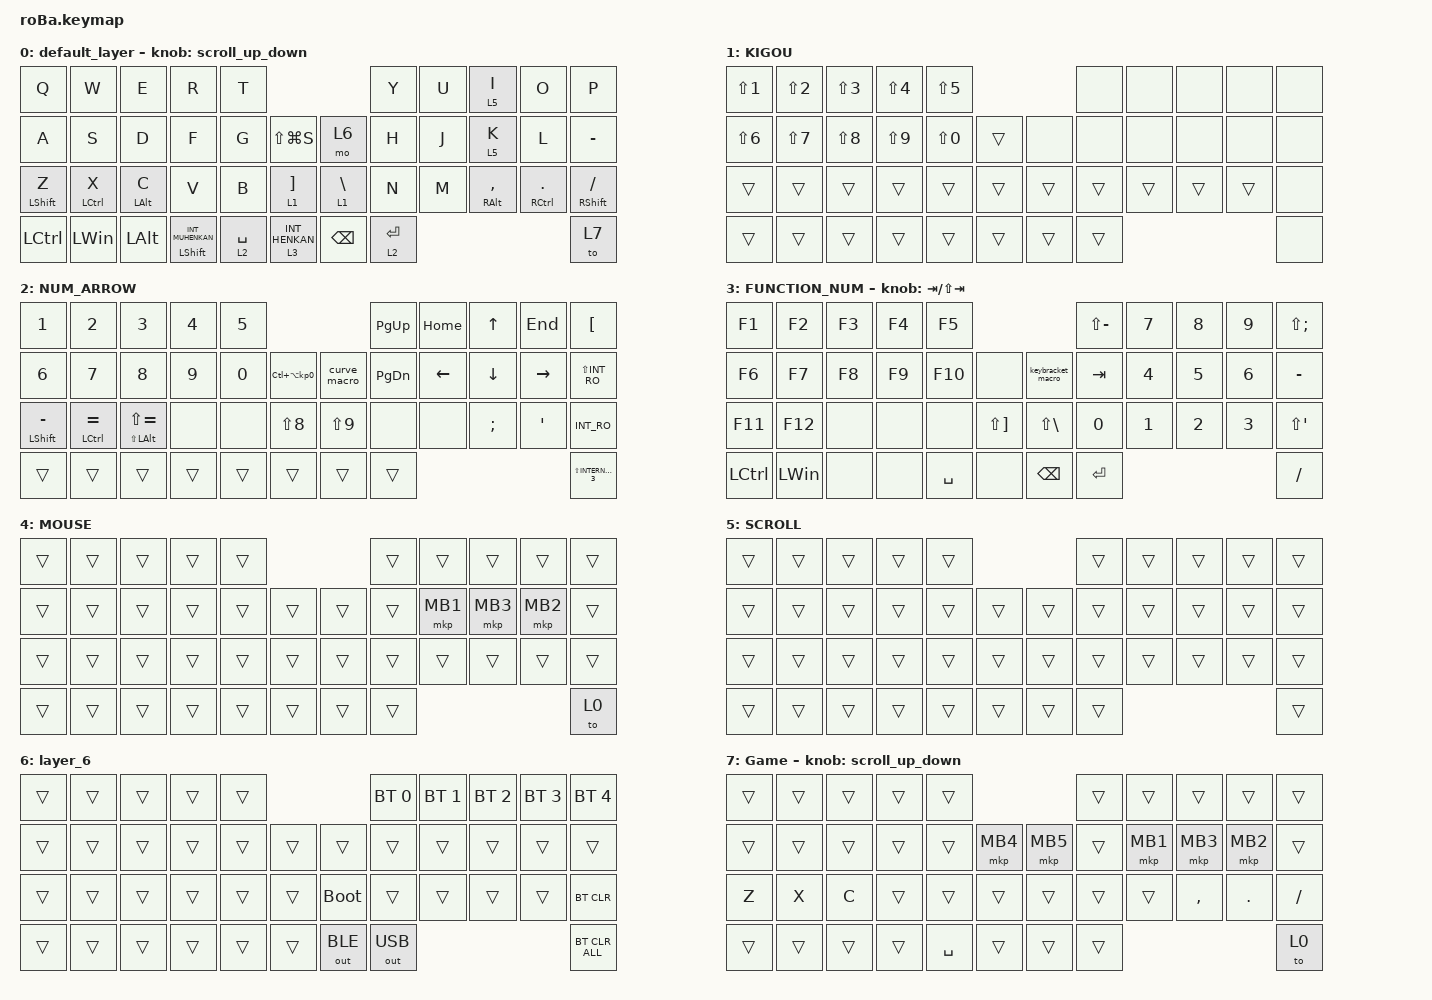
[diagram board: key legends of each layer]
#include <behaviors.dtsi>
#include <dt-bindings/zmk/bt.h>
#include <dt-bindings/zmk/keys.h>
#include <dt-bindings/zmk/outputs.h>
#include <dt-bindings/zmk/pointing.h>

#define MOUSE 4
#define SCROLL 5
#define NUM 6
#define ZMK_POINTING_DEFAULT_SCRL_VAL 100

&mt {
    flavor = "balanced";
    quick-tap-ms = <0>;
};

/ {
    combos {
        compatible = "zmk,combos";

        tab {
            bindings = <&kp TAB>;
            key-positions = <0 1>;
        };

        shift_tab {
            bindings = <&kp LS(TAB)>;
            key-positions = <3 4>;
        };

        muhennkann {
            bindings = <&kp ESC>;
            key-positions = <0 1 2>;
        };

        del {
            bindings = <&kp DEL>;
            key-positions = <8 9>;
        };

        mouseL {
            bindings = <&mkp LCLK>;
            key-positions = <18 19>;
        };

        mouseR {
            bindings = <&mkp RCLK>;
            key-positions = <19 20>;
        };

        mouseM {
            bindings = <&mkp MCLK>;
            key-positions = <18 20>;
        };

        dclick {
            bindings = <&dclick>;
            key-positions = <18 19 20>;
        };

        back {
            bindings = <&mkp MB4>;
            key-positions = <17 18>;
        };

        forward {
            bindings = <&mkp MB5>;
            key-positions = <5 6>;
        };

        curve_L {
            bindings = <&kp LS(NUMBER_8)>;
            key-positions = <14 4>;
        };

        curve_R {
            bindings = <&kp LS(NUMBER_9)>;
            key-positions = <5 17>;
        };

        dclick2 {
            bindings = <&dclick>;
            key-positions = <18 6>;
        };
    };

    macros {
        to_layer_0: to_layer_0 {
            compatible = "zmk,behavior-macro-one-param";
            #binding-cells = <1>;
            bindings = <&to 0 &macro_param_1to1 &kp MACRO_PLACEHOLDER>;
            label = "TO_LAYER_0";
        };

        dclick: dclick {
            compatible = "zmk,behavior-macro";
            #binding-cells = <0>;
            bindings = <&mkp LCLK &mkp LCLK>;
            label = "DCLICK";
        };

        curve_macro: curve_macro {
            compatible = "zmk,behavior-macro";
            #binding-cells = <0>;
            bindings = <&kp INT5 &kp LS(N8) &kp LS(N9) &kp LEFT>;
            label = "CURVE_MACRO";
        };

        keybracket_macro: keycurve_macro {
            compatible = "zmk,behavior-macro";
            #binding-cells = <0>;
            bindings = <&kp INT4 &kp RBKT &kp BACKSLASH &kp ENTER &kp LEFT_ARROW>;
            label = "KEYCURVE_MACRO";
        };
    };

    behaviors {
        lt_to_layer_0: lt_to_layer_0 {
            compatible = "zmk,behavior-hold-tap";
            label = "LAYER_TAP_TO_0";
            bindings = <&mo>, <&to_layer_0>;

            #binding-cells = <2>;
            tapping-term-ms = <200>;
        };

        scroll_up_down: behavior_sensor_rotate_mouse_wheel_up_down {
            compatible = "zmk,behavior-sensor-rotate";
            #sensor-binding-cells = <0>;
            bindings = <&msc SCRL_DOWN>, <&msc SCRL_UP>;

            // 追加: スクロールのタップ時間を設定 (20ms)

            tap-ms = <20>;
        };
    };

    keymap {
        compatible = "zmk,keymap";

        default_layer {
            bindings = <
&kp Q             &kp W         &kp E           &kp R                        &kp T                                                  &kp Y        &kp U  &lt 5 I              &kp O          &kp P
&kp A             &kp S         &kp D           &kp F                        &kp G        &kp LS(LG(S))            &mo 6            &kp H        &kp J  &lt 5 K              &kp L          &kp MINUS
&mt LEFT_SHIFT Z  &mt LCTRL X   &mt LEFT_ALT C  &kp V                        &kp B        &lt 1 RIGHT_BRACKET      &lt 1 BACKSLASH  &kp N        &kp M  &mt RIGHT_ALT COMMA  &mt RCTRL DOT  &mt RSHIFT SLASH
&kp LCTRL         &kp LEFT_WIN  &kp LEFT_ALT    &mt LEFT_SHIFT INT_MUHENKAN  &lt 2 SPACE  &lt 3 INT_HENKAN         &kp BACKSPACE    &lt 2 ENTER                                             &to 7
            >;

            sensor-bindings = <&scroll_up_down>;
        };

        KIGOU {
            bindings = <
&kp LS(N1)  &kp LS(N2)  &kp LS(N3)  &kp LS(N4)  &kp LS(N5)                      &none   &none   &none   &none   &none
&kp LS(N6)  &kp LS(N7)  &kp LS(N8)  &kp LS(N9)  &kp LS(N0)  &trans      &none   &none   &none   &none   &none   &none
&trans      &trans      &trans      &trans      &trans      &trans      &trans  &trans  &trans  &trans  &trans  &none
&trans      &trans      &trans      &trans      &trans      &trans      &trans  &trans                          &none
            >;
        };

        NUM_ARROW {
            bindings = <
&kp N1                &kp N2           &kp N3                      &kp N4  &kp N5                                             &kp PAGE_UP    &kp HOME        &kp UP_ARROW    &kp END          &kp LEFT_BRACKET
&kp N6                &kp N7           &kp N8                      &kp N9  &kp N0  &kp LC(LA(KP_NUMBER_0))      &curve_macro  &kp PAGE_DOWN  &kp LEFT_ARROW  &kp DOWN_ARROW  &kp RIGHT_ARROW  &kp LS(INT_RO)
&mt LEFT_SHIFT MINUS  &mt LCTRL EQUAL  &mt LS(LEFT_ALT) LS(EQUAL)  &none   &none   &kp LS(N8)                   &kp LS(N9)    &none          &none           &kp SEMICOLON   &kp SQT          &kp INT_RO
&trans                &trans           &trans                      &trans  &trans  &trans                       &trans        &trans                                                          &kp LS(INTERNATIONAL_3)
            >;
        };

        FUNCTION_NUM {
            bindings = <
&kp F1     &kp F2        &kp F3  &kp F4  &kp F5                                                   &kp LS(MINUS)  &kp N7  &kp N8  &kp N9  &kp LS(SEMICOLON)
&kp F6     &kp F7        &kp F8  &kp F9  &kp F10    &none                      &keybracket_macro  &kp TAB        &kp N4  &kp N5  &kp N6  &kp MINUS
&kp F11    &kp F12       &none   &none   &none      &kp LS(RIGHT_BRACKET)      &kp LS(BACKSLASH)  &kp N0         &kp N1  &kp N2  &kp N3  &kp LS(SQT)
&kp LCTRL  &kp LEFT_WIN  &none   &none   &kp SPACE  &none                      &kp BACKSPACE      &kp ENTER                              &kp SLASH
            >;

            sensor-bindings = <&inc_dec_kp TAB LS(TAB)>;
        };

        MOUSE {
            bindings = <
&trans  &trans  &trans  &trans  &trans                      &trans  &trans    &trans    &trans    &trans
&trans  &trans  &trans  &trans  &trans  &trans      &trans  &trans  &mkp MB1  &mkp MB3  &mkp MB2  &trans
&trans  &trans  &trans  &trans  &trans  &trans      &trans  &trans  &trans    &trans    &trans    &trans
&trans  &trans  &trans  &trans  &trans  &trans      &trans  &trans                                &to 0
            >;
        };

        SCROLL {
            bindings = <
&trans  &trans  &trans  &trans  &trans                      &trans  &trans  &trans  &trans  &trans
&trans  &trans  &trans  &trans  &trans  &trans      &trans  &trans  &trans  &trans  &trans  &trans
&trans  &trans  &trans  &trans  &trans  &trans      &trans  &trans  &trans  &trans  &trans  &trans
&trans  &trans  &trans  &trans  &trans  &trans      &trans  &trans                          &trans
            >;
        };

        layer_6 {
            bindings = <
&trans  &trans  &trans  &trans  &trans                            &bt BT_SEL 0  &bt BT_SEL 1  &bt BT_SEL 2  &bt BT_SEL 3  &bt BT_SEL 4
&trans  &trans  &trans  &trans  &trans  &trans      &trans        &trans        &trans        &trans        &trans        &trans
&trans  &trans  &trans  &trans  &trans  &trans      &bootloader   &trans        &trans        &trans        &trans        &bt BT_CLR
&trans  &trans  &trans  &trans  &trans  &trans      &out OUT_BLE  &out OUT_USB                                            &bt BT_CLR_ALL
            >;
        };

        Game {
            bindings = <
&trans  &trans  &trans  &trans  &trans                             &trans  &trans    &trans     &trans      &trans
&trans  &trans  &trans  &trans  &trans     &mkp MB4      &mkp MB5  &trans  &mkp MB1  &mkp MB3   &mkp MB2    &trans
&kp Z   &kp X   &kp C   &trans  &trans     &trans        &trans    &trans  &trans    &kp COMMA  &kp PERIOD  &kp SLASH
&trans  &trans  &trans  &trans  &kp SPACE  &trans        &trans    &trans                                   &to 0
            >;

            sensor-bindings = <&scroll_up_down>;
        };
    };
};
